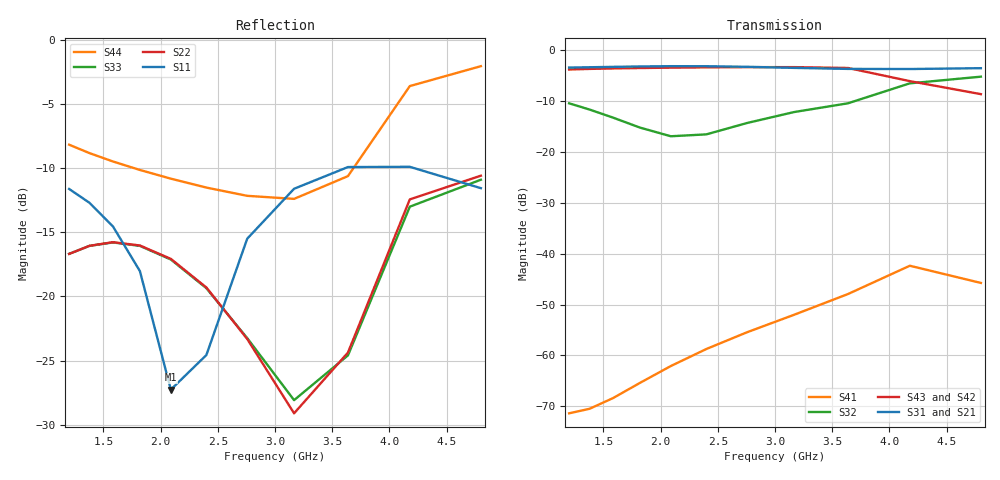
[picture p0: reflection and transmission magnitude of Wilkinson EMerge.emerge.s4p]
! Generated by circuitRF - EM: EMerge
! circuitRF-EM setup: Wilkinson EMerge
! circuitRF-EM layout: Wilkinson.c3d
! circuitRF-EM written: 2026-11-15 22:50:24Z
! circuitRF-EM stamp: 20261115T225024Z-3ad6dd24
! circuitRF-EM geometry: a3073cbdc76612f9
! circuitRF-EM mesh settings: 052857159ca3006f
! circuitRF-EM ports: 000119484f038347
! circuitRF-EM model: EMerge 3.0.0
! Port[1] = P1
! Port[2] = P2
! Port[3] = P3
! Port[4] = R1
! circuitRF-EM port 1: 'port/1' from 'U1/Bottom Copper (1 oz)/1' to 'U1/Top Copper (1 oz)/1', lumped, 50 Ohm
! circuitRF-EM port 2: 'port/2' from 'U1/Bottom Copper (1 oz)/1' to 'U1/Top Copper (1 oz)/1', lumped, 50 Ohm
! circuitRF-EM port 3: 'port/3' from 'U1/Bottom Copper (1 oz)/1' to 'U1/Top Copper (1 oz)/1', lumped, 50 Ohm
! circuitRF-EM port 4: 'port/4' from 'U1/Top Copper (1 oz)/1' to 'U1/Top Copper (1 oz)/1', lumped, 50 Ohm
! Port 1 = P01  P1  net=?  ref=U1/Bottom Copper (1 oz)/1  uncalibrated
! Port 2 = P02  P2  net=?  ref=U1/Bottom Copper (1 oz)/1  uncalibrated
! Port 3 = P03  P3  net=?  ref=U1/Bottom Copper (1 oz)/1  uncalibrated
! Port 4 = P04  R1  net=?  ref=U1/Top Copper (1 oz)/1  uncalibrated
! DC: none, the lowest row is 1.2 GHz; a circuit's DC solve through this file takes that row as DC
! circuitRF-EM 3D mesh: 11053 tetrahedra, element order 2
! circuitRF-EM 3D operating temperature: 20 C
! circuitRF-EM 3D run: preset Draft; 11053 tetrahedra; 80114 unknowns; adaptive sweep, 11 frequency sample(s), estimated error 6.22E-05
! circuitRF-EM 3D run cost: wall 34 s; EMerge peak memory 1.7 GB
! circuitRF-EM: re-running the EM setup rewrites this file. If circuitRF reports it as stale, the layout's cross-section changed after this file was written.
# GHz S RI R 50
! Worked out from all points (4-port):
!   11 points, 1.2 GHz to 4.8 GHz, reference 50 ohm
!   strongest paths, dB at 1.2 GHz, 1.583 GHz, 2.4 GHz, 3.638 GHz, 4.8 GHz:
!     S31: -3.4, -3.3, -3.1, -3.7, -3.5
!     S21: -3.4, -3.3, -3.1, -3.6, -3.6
!     S43: -3.8, -3.6, -3.4, -3.5, -8.6
!     S42: -3.8, -3.6, -3.4, -3.5, -8.6
!     S32: -10.4, -13.2, -16.5, -10.4, -5.2
!     S41: -71.4, -68.4, -58.7, -47.9, -45.7
!   lowest |S11| = -27.3 dB at 2.089 GHz (marker M1), VSWR 1.09, Z = 51.7 + j4.07 ohm
!   |S11| at or under -10 dB: start of sweep to 3.611 GHz; 4.222 GHz to end of sweep
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1.2  -0.1578 0.21  -0.00328 -0.676  -0.0025 -0.6762  -0.000269 -3.97e-05
     -0.00317 -0.676  -0.1238 0.0784  -0.0341 -0.2991  0.617 -0.1961
     -0.00239 -0.6762  -0.0341 -0.2991  -0.1238 0.0784  -0.617 0.1953
     -0.000268 -3.73e-05  0.6164 -0.1978  -0.6165 0.1969  0.2923 0.2595
1.81886  0.00266 0.1255  -0.516 -0.4629  -0.5153 -0.4637  -0.000515 -0.000167
         -0.5159 -0.463  -0.0488 0.1504  -0.0861 -0.151  0.496 -0.4489
         -0.5151 -0.4639  -0.0861 -0.151  -0.0483 0.1499  -0.497 0.448
         -0.000512 -0.000164  0.4941 -0.4509  -0.4951 0.45  0.3046 0.0653
2.089321  0.0182 0.0393  -0.654 -0.2437  -0.6534 -0.2449  -0.000784 -0.000117
          -0.6539 -0.2439  0.0144 0.1394  -0.0645 -0.1274  0.414 -0.5322
          -0.6533 -0.2451  -0.0645 -0.1274  0.015 0.1385  -0.4154 0.5314
          -0.00078 -0.000112  0.4114 -0.5341  -0.4128 0.5334  0.288 0.00514
3.166819  -0.2631 0.00159  -0.2878 0.6076  -0.2897 0.6055  -0.00126 0.00218
          -0.2881 0.6075  0.00541 -0.0346  -0.161 -0.1874  -0.0379 -0.6812
          -0.29 0.6054  -0.161 -0.1874  0.00538 -0.039  0.0343 0.6823
          -0.00124 0.00219  -0.0428 -0.6807  0.0393 0.6818  0.1467 -0.1902
3.63772  -0.2658 0.1777  0.1166 0.6467  0.1124 0.6461  0.000628 0.00398
         0.1163 0.6468  -0.0467 0.0383  -0.2665 -0.1402  -0.2925 -0.6011
         0.112 0.6462  -0.2665 -0.1401  -0.0501 0.0309  0.2876 0.6053
         0.000664 0.00396  -0.2974 -0.5983  0.2925 0.6026  -0.021 -0.2939
4.178643  -0.0985 0.3049  0.5038 0.4132  0.5006 0.4209  0.00744 0.00169
          0.5037 0.4135  0.1818 0.1554  -0.4728 -0.0177  -0.4701 -0.1492
          0.5004 0.4213  -0.4728 -0.0177  0.165 0.1515  0.4703 0.1634
          0.00745 0.00161  -0.4711 -0.1445  0.4714 0.1586  -0.6397 -0.1692
4.8  0.1199 0.2357  0.6559 -0.083  0.6612 -0.0862  -0.00223 -0.00465
     0.656 -0.0825  0.1048 -0.2767  -0.1568 0.5275  0.0351 -0.3709
     0.6613 -0.0858  -0.1568 0.5275  0.1047 -0.2654  -0.0244 0.3697
     -0.00228 -0.00464  0.0311 -0.3712  -0.0205 0.37  0.0513 0.7897
